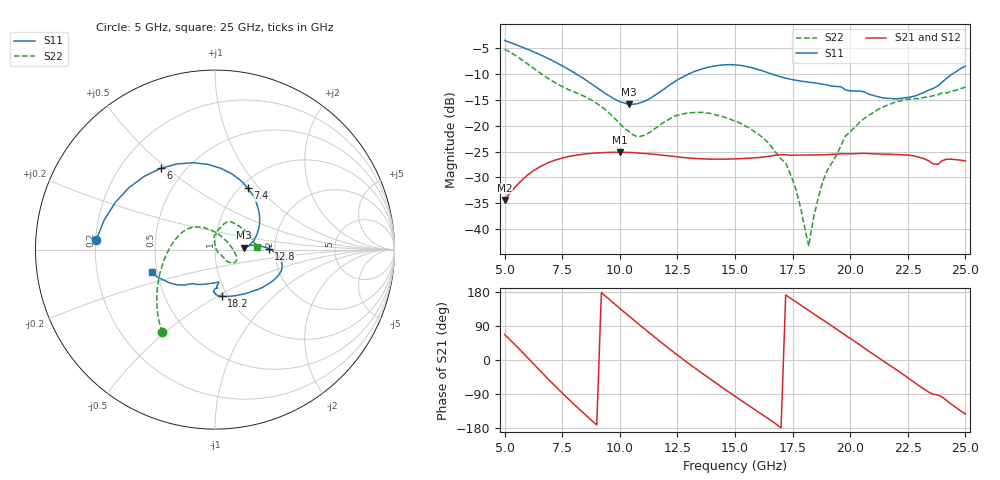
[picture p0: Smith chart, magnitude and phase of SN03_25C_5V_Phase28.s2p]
!File name = SN03_25C_5V_Phase28.s2p
!Date = 2/3/2014
!Time = 2:36 PM
!Test duration(min) = 0.07
!Test = SPars
!MPTS version = 7.120.8
!Comments =
!set_LD1(binary) = 28
!set_LD2(binary) = 524259
!test = SPars
!date_code = 20140203
!file_name = SN03_25C_5V_Phase28.s2p
!VREF(V) = 5.000
!VREF(mA) = 0.002
# GHz  S  DB  R  50
!%	Freq(GHz)  S11(dB)  S11(deg)  S21(dB)  S21(deg)  S12(dB)  S12(deg)  S22(dB)  S22(deg)
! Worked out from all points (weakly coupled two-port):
!   101 points, 5 GHz to 25 GHz, reference 50 ohm
!   highest |S21| = -25.15 dB at 10 GHz (marker M1); lowest = -34.3 dB at 5 GHz (marker M2)
!   lowest |S11| = -15.9 dB at 10.4 GHz (marker M3), VSWR 1.38, Z = 69.1 + j1.45 ohm
!   |S11| at or under -10 dB: 8.099 GHz to 13.01 GHz (4.914 GHz wide, 46.6 % of centre); 16.55 GHz to 24.45 GHz (7.898 GHz wide, 38.5 % of centre)
!   |S22| runs from -43.3 to -5.2 dB; largest |S21 - S12| = 0.00027
!   S11 on the Smith chart (normalised r, x): 5 GHz: 0.20, +0.04; 6 GHz: 0.37, +0.48; 7.4 GHz: 1.09, +0.87; 12.8 GHz: 1.86, +0.02; 18.2 GHz: 0.94, -0.52; 25 GHz: 0.47, -0.13
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5  -3.56 175.3  -34.34 67.3  -34.35 67.2  -5.24 -122.5
5.6  -4.57 144.4  -31.21 31.2  -31.21 31.2  -6.86 -135.4
6  -5.28 123.7  -29.51 5.9  -29.52 6.0  -8.10 -144.9
6.6  -6.44 94.8  -27.79 -32.1  -27.81 -32.1  -10.04 -161.2
7.4  -8.22 61.7  -26.39 -81.2  -26.41 -81.1  -12.23 174.4
8.4  -10.84 30.1  -25.52 -138.7  -25.55 -138.5  -14.22 144.8
10  -15.37 3.6  -25.15 136.2  -25.18 136.3  -19.60 96.9
10.4  -15.88 3.6  -25.19 115.7  -25.21 115.9  -21.16 75.4
11  -15.41 5.9  -25.36 85.7  -25.37 85.7  -21.97 35.0
11.8  -13.32 6.5  -25.68 46.3  -25.70 46.4  -19.68 -3.0
12.8  -10.45 1.0  -26.18 -0.6  -26.17 -0.8  -17.68 -22.2
15  -8.28 -19.3  -26.42 -95.6  -26.42 -95.7  -19.14 -41.1
16.2  -9.43 -38.8  -26.09 -144.7  -26.10 -144.7  -22.32 -43.2
17.2  -10.84 -61.5  -25.63 171.7  -25.65 171.7  -27.15 -41.2
17.6  -11.21 -70.4  -25.70 155.3  -25.70 155.3  -31.59 -42.2
18.2  -11.63 -81.8  -25.68 130.6  -25.70 130.6  -43.27 34.3
18.4  -11.72 -84.6  -25.68 122.4  -25.69 122.4  -37.98 73.1
18.8  -12.01 -88.4  -25.63 106.3  -25.65 106.2  -30.92 90.3
19.8  -13.11 -91.0  -25.45 65.0  -25.47 65.1  -21.98 92.1
21.8  -14.79 -84.0  -25.55 -17.4  -25.58 -17.4  -15.75 67.9
23.6  -12.84 -124.0  -27.39 -90.5  -27.41 -90.4  -14.23 36.5
25  -8.53 -160.7  -26.81 -142.6  -26.82 -142.5  -12.58 3.9
